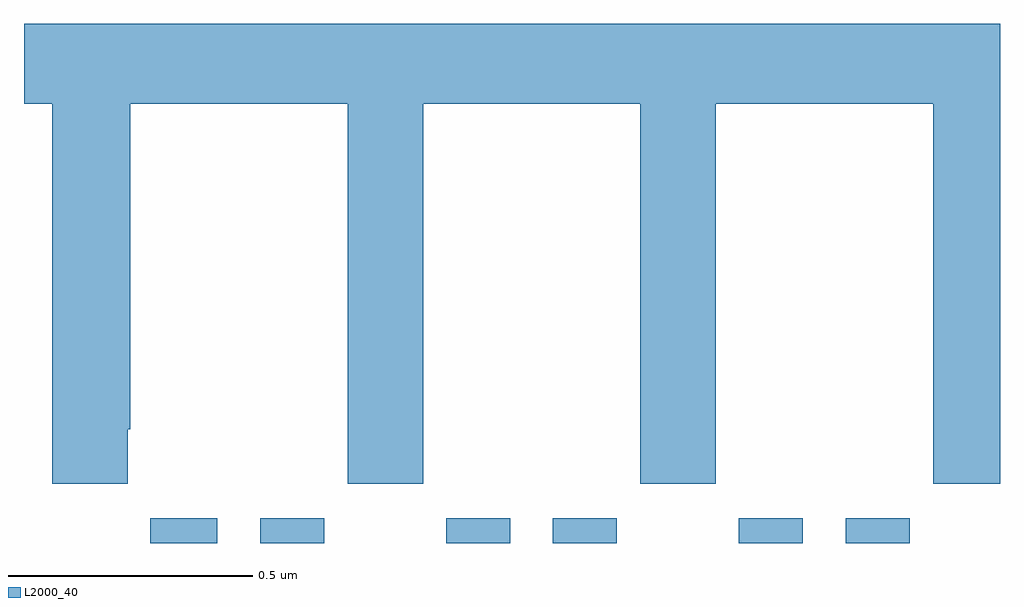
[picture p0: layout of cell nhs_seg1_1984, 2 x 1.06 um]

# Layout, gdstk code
import gdstk
lib = gdstk.Library(unit=1e-6, precision=1e-09)
def R(c, l, rs):  # rectangles x0, y0, x1, y1
    for r in rs: c.add(gdstk.rectangle(r[:2], r[2:], *l))
def P(c, l, *ps):  # polygons
    for p in ps: c.add(gdstk.Polygon(p, *l))
L2000_40 = (2000, 40)

nhs_seg1_1984 = lib.new_cell('nhs_seg1_1984')
R(nhs_seg1_1984, L2000_40, [(136.259,516.199,136.396,516.25), (136.484,516.199,136.615,516.25), (136.865,516.199,136.996,516.25), (137.084,516.199,137.215,516.25), (137.465,516.199,137.596,516.25), (137.684,516.199,137.815,516.25)])
P(nhs_seg1_1984, L2000_40, [(136.213,516.433),(136.218,516.433),(136.218,517.1),(136.663,517.1),(136.663,516.321),(136.818,516.321),(136.818,517.1),(137.263,517.1),(137.263,516.321),(137.418,516.321),(137.418,517.1),(137.863,517.1),(137.863,516.321),(138,516.321),(138,517.264),(136,517.264),(136,517.1),(136.058,517.1),(136.058,516.321),(136.213,516.321)])

lib.write_gds('nhs_seg1_1984.gds')
